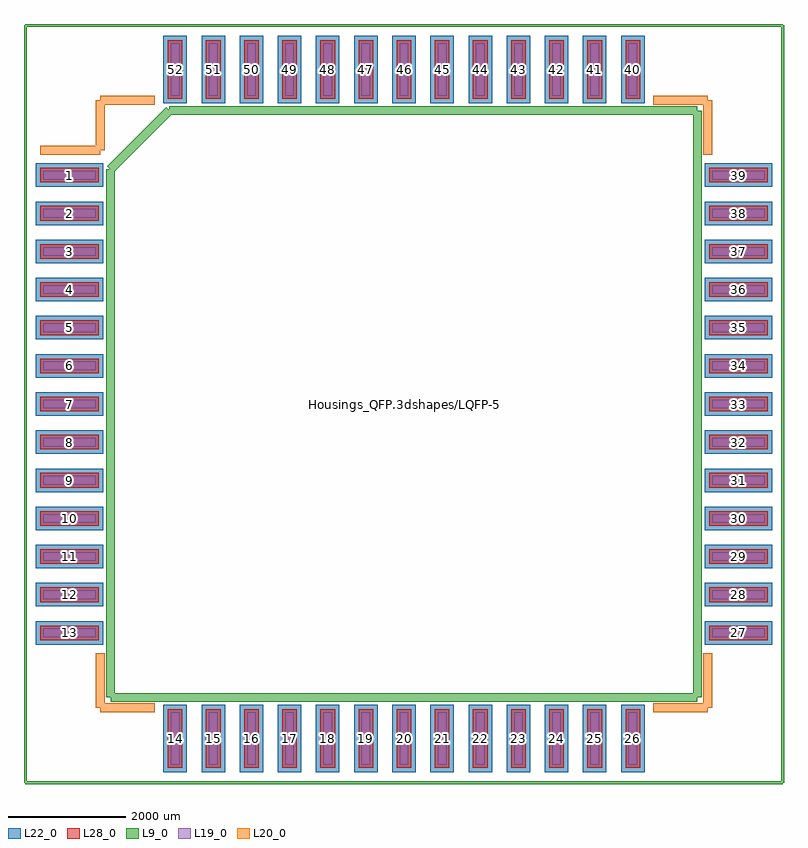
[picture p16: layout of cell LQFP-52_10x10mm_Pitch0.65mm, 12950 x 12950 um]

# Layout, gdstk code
import gdstk
lib = gdstk.Library(unit=1e-6, precision=1e-09)
def R(c, l, rs):  # rectangles x0, y0, x1, y1
    for r in rs: c.add(gdstk.rectangle(r[:2], r[2:], *l))
def A(c, l, x, y, w, h, nx, ny, dx, dy):  # array of equal rectangles
    R(c, l, [(x+i*dx, y+j*dy, x+i*dx+w, y+j*dy+h) for i in range(nx) for j in range(ny)])
L9_0 = (9, 0)
L19_0 = (19, 0)
L20_0 = (20, 0)
L22_0 = (22, 0)
L28_0 = (28, 0)

lqfp_52_10x10mm_pitch0_6 = lib.new_cell('LQFP-52_10x10mm_Pitch0.65mm')
A(lqfp_52_10x10mm_pitch0_6, L19_0, -3975, -6150, 150, 900, 13, 2, 650, 11400)
A(lqfp_52_10x10mm_pitch0_6, L19_0, -6150, -3975, 900, 150, 1, 13, 0, 650)
A(lqfp_52_10x10mm_pitch0_6, L19_0, 5250, -3975, 900, 150, 1, 13, 0, 650)
A(lqfp_52_10x10mm_pitch0_6, L22_0, -4100, -6275, 400, 1150, 13, 2, 650, 11400)
A(lqfp_52_10x10mm_pitch0_6, L22_0, -6275, -4100, 1150, 400, 1, 13, 0, 650)
A(lqfp_52_10x10mm_pitch0_6, L22_0, 5125, -4100, 1150, 400, 1, 13, 0, 650)
A(lqfp_52_10x10mm_pitch0_6, L28_0, -4025, -6200, 250, 1000, 13, 2, 650, 11400)
A(lqfp_52_10x10mm_pitch0_6, L28_0, -6200, -4025, 1000, 250, 1, 13, 0, 650)
A(lqfp_52_10x10mm_pitch0_6, L28_0, 5200, -4025, 1000, 250, 1, 13, 0, 650)
lqfp_52_10x10mm_pitch0_6.add(gdstk.FlexPath([(-5175,4325),(-6200,4325)], 149.998, ends="flush", simple_path=True, layer=20, datatype=0))  # L20_0
lqfp_52_10x10mm_pitch0_6.add(gdstk.FlexPath([(5175,5175),(4250,5175)], 149.998, ends="flush", simple_path=True, layer=20, datatype=0))  # L20_0
lqfp_52_10x10mm_pitch0_6.add(gdstk.FlexPath([(5175,-5175),(4250,-5175)], 149.998, ends="flush", simple_path=True, layer=20, datatype=0))  # L20_0
lqfp_52_10x10mm_pitch0_6.add(gdstk.FlexPath([(-5175,-5175),(-4250,-5175)], 149.998, ends="flush", simple_path=True, layer=20, datatype=0))  # L20_0
lqfp_52_10x10mm_pitch0_6.add(gdstk.FlexPath([(-5175,5175),(-4250,5175)], 149.998, ends="flush", simple_path=True, layer=20, datatype=0))  # L20_0
lqfp_52_10x10mm_pitch0_6.add(gdstk.FlexPath([(-5175,-5175),(-5175,-4250)], 149.998, ends="flush", simple_path=True, layer=20, datatype=0))  # L20_0
lqfp_52_10x10mm_pitch0_6.add(gdstk.FlexPath([(5175,-5175),(5175,-4250)], 149.998, ends="flush", simple_path=True, layer=20, datatype=0))  # L20_0
lqfp_52_10x10mm_pitch0_6.add(gdstk.FlexPath([(5175,5175),(5175,4250)], 149.998, ends="flush", simple_path=True, layer=20, datatype=0))  # L20_0
lqfp_52_10x10mm_pitch0_6.add(gdstk.FlexPath([(-5175,5175),(-5175,4325)], 149.998, ends="flush", simple_path=True, layer=20, datatype=0))  # L20_0
lqfp_52_10x10mm_pitch0_6.add(gdstk.FlexPath([(-6450,-6450),(6450,-6450)], 50, ends="flush", simple_path=True, layer=9, datatype=0))  # L9_0
lqfp_52_10x10mm_pitch0_6.add(gdstk.FlexPath([(-6450,6450),(6450,6450)], 50, ends="flush", simple_path=True, layer=9, datatype=0))  # L9_0
lqfp_52_10x10mm_pitch0_6.add(gdstk.FlexPath([(6450,6450),(6450,-6450)], 50, ends="flush", simple_path=True, layer=9, datatype=0))  # L9_0
lqfp_52_10x10mm_pitch0_6.add(gdstk.FlexPath([(-6450,6450),(-6450,-6450)], 50, ends="flush", simple_path=True, layer=9, datatype=0))  # L9_0
lqfp_52_10x10mm_pitch0_6.add(gdstk.FlexPath([(-5000,4000),(-4000,5000)], 149.998, ends="flush", simple_path=True, layer=9, datatype=0))  # L9_0
lqfp_52_10x10mm_pitch0_6.add(gdstk.FlexPath([(-5000,-5000),(-5000,4000)], 149.998, ends="flush", simple_path=True, layer=9, datatype=0))  # L9_0
lqfp_52_10x10mm_pitch0_6.add(gdstk.FlexPath([(5000,-5000),(-5000,-5000)], 149.998, ends="flush", simple_path=True, layer=9, datatype=0))  # L9_0
lqfp_52_10x10mm_pitch0_6.add(gdstk.FlexPath([(5000,5000),(5000,-5000)], 149.998, ends="flush", simple_path=True, layer=9, datatype=0))  # L9_0
lqfp_52_10x10mm_pitch0_6.add(gdstk.FlexPath([(-4000,5000),(5000,5000)], 149.998, ends="flush", simple_path=True, layer=9, datatype=0))  # L9_0
lqfp_52_10x10mm_pitch0_6.add(gdstk.Label('Housings_QFP.3dshapes/LQFP-52_10x10mm_Pitch0.65mm.wrl', (0,0), layer=12, texttype=0))
lqfp_52_10x10mm_pitch0_6.add(gdstk.Label('52', (-3900,5700), layer=28, texttype=0))
lqfp_52_10x10mm_pitch0_6.add(gdstk.Label('51', (-3250,5700), layer=28, texttype=0))
lqfp_52_10x10mm_pitch0_6.add(gdstk.Label('50', (-2600,5700), layer=28, texttype=0))
lqfp_52_10x10mm_pitch0_6.add(gdstk.Label('49', (-1950,5700), layer=28, texttype=0))
lqfp_52_10x10mm_pitch0_6.add(gdstk.Label('48', (-1300,5700), layer=28, texttype=0))
lqfp_52_10x10mm_pitch0_6.add(gdstk.Label('47', (-650,5700), layer=28, texttype=0))
lqfp_52_10x10mm_pitch0_6.add(gdstk.Label('46', (0,5700), layer=28, texttype=0))
lqfp_52_10x10mm_pitch0_6.add(gdstk.Label('45', (650,5700), layer=28, texttype=0))
lqfp_52_10x10mm_pitch0_6.add(gdstk.Label('44', (1300,5700), layer=28, texttype=0))
lqfp_52_10x10mm_pitch0_6.add(gdstk.Label('43', (1950,5700), layer=28, texttype=0))
lqfp_52_10x10mm_pitch0_6.add(gdstk.Label('42', (2600,5700), layer=28, texttype=0))
lqfp_52_10x10mm_pitch0_6.add(gdstk.Label('41', (3250,5700), layer=28, texttype=0))
lqfp_52_10x10mm_pitch0_6.add(gdstk.Label('40', (3900,5700), layer=28, texttype=0))
lqfp_52_10x10mm_pitch0_6.add(gdstk.Label('39', (5700,3900), layer=28, texttype=0))
lqfp_52_10x10mm_pitch0_6.add(gdstk.Label('38', (5700,3250), layer=28, texttype=0))
lqfp_52_10x10mm_pitch0_6.add(gdstk.Label('37', (5700,2600), layer=28, texttype=0))
lqfp_52_10x10mm_pitch0_6.add(gdstk.Label('36', (5700,1950), layer=28, texttype=0))
lqfp_52_10x10mm_pitch0_6.add(gdstk.Label('35', (5700,1300), layer=28, texttype=0))
lqfp_52_10x10mm_pitch0_6.add(gdstk.Label('34', (5700,650), layer=28, texttype=0))
lqfp_52_10x10mm_pitch0_6.add(gdstk.Label('33', (5700,0), layer=28, texttype=0))
lqfp_52_10x10mm_pitch0_6.add(gdstk.Label('32', (5700,-650), layer=28, texttype=0))
lqfp_52_10x10mm_pitch0_6.add(gdstk.Label('31', (5700,-1300), layer=28, texttype=0))
lqfp_52_10x10mm_pitch0_6.add(gdstk.Label('30', (5700,-1950), layer=28, texttype=0))
lqfp_52_10x10mm_pitch0_6.add(gdstk.Label('29', (5700,-2600), layer=28, texttype=0))
lqfp_52_10x10mm_pitch0_6.add(gdstk.Label('28', (5700,-3250), layer=28, texttype=0))
lqfp_52_10x10mm_pitch0_6.add(gdstk.Label('27', (5700,-3900), layer=28, texttype=0))
lqfp_52_10x10mm_pitch0_6.add(gdstk.Label('26', (3900,-5700), layer=28, texttype=0))
lqfp_52_10x10mm_pitch0_6.add(gdstk.Label('25', (3250,-5700), layer=28, texttype=0))
lqfp_52_10x10mm_pitch0_6.add(gdstk.Label('24', (2600,-5700), layer=28, texttype=0))
lqfp_52_10x10mm_pitch0_6.add(gdstk.Label('23', (1950,-5700), layer=28, texttype=0))
lqfp_52_10x10mm_pitch0_6.add(gdstk.Label('22', (1300,-5700), layer=28, texttype=0))
lqfp_52_10x10mm_pitch0_6.add(gdstk.Label('21', (650,-5700), layer=28, texttype=0))
lqfp_52_10x10mm_pitch0_6.add(gdstk.Label('20', (0,-5700), layer=28, texttype=0))
lqfp_52_10x10mm_pitch0_6.add(gdstk.Label('19', (-650,-5700), layer=28, texttype=0))
lqfp_52_10x10mm_pitch0_6.add(gdstk.Label('18', (-1300,-5700), layer=28, texttype=0))
lqfp_52_10x10mm_pitch0_6.add(gdstk.Label('17', (-1950,-5700), layer=28, texttype=0))
lqfp_52_10x10mm_pitch0_6.add(gdstk.Label('16', (-2600,-5700), layer=28, texttype=0))
lqfp_52_10x10mm_pitch0_6.add(gdstk.Label('15', (-3250,-5700), layer=28, texttype=0))
lqfp_52_10x10mm_pitch0_6.add(gdstk.Label('14', (-3900,-5700), layer=28, texttype=0))
lqfp_52_10x10mm_pitch0_6.add(gdstk.Label('13', (-5700,-3900), layer=28, texttype=0))
lqfp_52_10x10mm_pitch0_6.add(gdstk.Label('12', (-5700,-3250), layer=28, texttype=0))
lqfp_52_10x10mm_pitch0_6.add(gdstk.Label('11', (-5700,-2600), layer=28, texttype=0))
lqfp_52_10x10mm_pitch0_6.add(gdstk.Label('10', (-5700,-1950), layer=28, texttype=0))
lqfp_52_10x10mm_pitch0_6.add(gdstk.Label('9', (-5700,-1300), layer=28, texttype=0))
lqfp_52_10x10mm_pitch0_6.add(gdstk.Label('8', (-5700,-650), layer=28, texttype=0))
lqfp_52_10x10mm_pitch0_6.add(gdstk.Label('7', (-5700,0), layer=28, texttype=0))
lqfp_52_10x10mm_pitch0_6.add(gdstk.Label('6', (-5700,650), layer=28, texttype=0))
lqfp_52_10x10mm_pitch0_6.add(gdstk.Label('5', (-5700,1300), layer=28, texttype=0))
lqfp_52_10x10mm_pitch0_6.add(gdstk.Label('4', (-5700,1950), layer=28, texttype=0))
lqfp_52_10x10mm_pitch0_6.add(gdstk.Label('3', (-5700,2600), layer=28, texttype=0))
lqfp_52_10x10mm_pitch0_6.add(gdstk.Label('2', (-5700,3250), layer=28, texttype=0))
lqfp_52_10x10mm_pitch0_6.add(gdstk.Label('1', (-5700,3900), layer=28, texttype=0))
lqfp_52_10x10mm_pitch0_6.add(gdstk.Label('%R', (0,0), layer=9, texttype=0))
lqfp_52_10x10mm_pitch0_6.add(gdstk.Label('type', (0,-7200), layer=9, texttype=0))
lqfp_52_10x10mm_pitch0_6.add(gdstk.Label('devicename', (0,7200), layer=9, texttype=0))

lib.write_gds('LQFP-52_10x10mm_Pitch0.65mm.gds')
